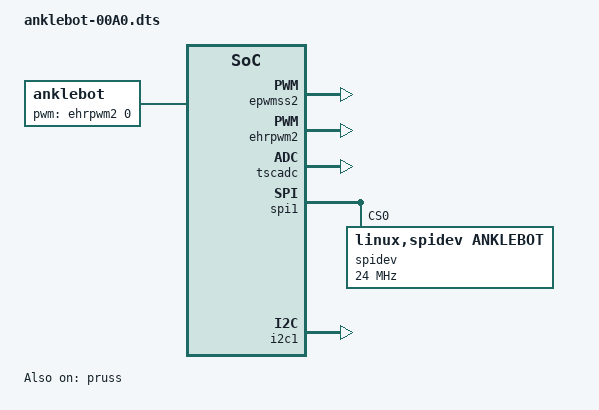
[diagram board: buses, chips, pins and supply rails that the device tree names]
/*
* Copyright (C) 2013 Matt Ranostay <mranostay@gmail.com>
*
* This program is free software; you can redistribute it and/or modify
* it under the terms of the GNU General Public License version 2 as
* published by the Free Software Foundation.
*/

/*
* Modified by Jonathan Realmuto <jonreal731@gmail.com>
*/


/dts-v1/;
/plugin/;

/ {
  compatible = "ti,beaglebone", "ti,beaglebone-black";

  /* identification */
  part-number = "ANKLEBOT";
  version = "00A0";

  /* state the resources this cape uses */
  exclusive-use =

    /**** pru debug pins ****/
    "P9.27",  /* pr1_pru0_pru_r30_5 - debug pin */
    "P8.27",  /* pr1_pru1_pru_r30_8 - debug pin */

    /**** PWM pins ****/
    "P8.45",  /* ehrpwm2A */

    /**** ADC pins ****/
    "P9.39",  /* AIN0 */
    "P9.40",  /* AIN1 */
    "P9.37",  /* AIN2 */
    "P9.38",  /* AIN3 */
    "P9.33",  /* AIN4 */
    "P9.36",  /* AIN5 */
    "P9.35",  /* AIN6 */

    /**** SPI1 pins ****/
    "P9.28",  /* SPI1_CS0 */
    "P9.29",  /* SPI1_D0 */
    "P9.30",  /* SPI1_D1 */
    "P9.31",  /* SPI1_SCLK */

    /**** I2C1 pins ****/
    "P9.17",  /* I2C1_SCL */
    "P9.18",  /* I2C1_SDA */

    /* the hardware IP uses */
    "ehrpwm2A",
    "tscadc",
    "spi1",
    "i2c1",
    "pruss";

  /*----- pin mux -----*/

  /* Bit 0-2 : Mode
   * Bit 3   : 1-pull disabled, 0-pull enabled
   * Bit 4   : 1-pullup, 0-pulldown
   * Bit 5   : 1-input, 0-output
   */

  fragment@0 {
    target = <&am33xx_pinmux>;
    __overlay__ {

      pwm_pins: pinmux_pwm_pins {
        pinctrl-single,pins = <
          0x0A0 0x03  /* P8.45 - ehrpwm2A, MODE3 */
        >;
      };

      pruss_pins: pinmux_pruss_pins {
        pinctrl-single,pins = <
          0x1A4 0x0D  /* P9.27 - pr1_pru0_pru_r30_5, MODE5 | OUTPUT */
          0x0E0 0x0D  /* P8.27 - pr1_pru1_pru_r30_8, MODE5 | OUTPUT */
        >;
      };

      spi_pins: pinmux_spi_pins {
        pinctrl-single,pins = <
          0x19C 0x13  /* P9.28 - spi1_cs0,  MODE3 | OUTPUT_PULLUP */
          0x194 0x33  /* P9.29 - spi1_d0, MODE3 | INPUT_PULLUP */
          0x198 0x13  /* P9.30 - spi1_d1, MODE3 | OUTPUT_PULLUP */
          0x190 0x33  /* P9.31 - spi1_sclk, MODE3 | INPUT_PULLUP */
        >;
      };

      i2c1_pins: pinmux_i2c1_pins{
        pinctrl-single,pins = <
          0x15C 0x72  /* P9.17 - i2c1_scl, MODE2 | INPUT_PULLUP (bi-dir)*/
          0x158 0x72  /* P9.18 - i2c1_sda, MODE2 | INPUT_PULLUP (bi-dir)*/
        >;
      };
    };
  };

  /*----- pru enable -----*/

  fragment@1 {
    target = <&pruss>;
    __overlay__ {
      status = "okay";
      pinctrl-names = "default";
      pinctrl-0 = <&pruss_pins>;
    };
  };

  /*------ PWM enable ------*/

  fragment@2 {
    target = <&epwmss2>;
    __overlay__ {
      status = "okay";
    };
  };

  fragment@3 {
    target = <&ehrpwm2>;
    __overlay__ {
      status = "okay";
      pinctrl-names = "default";
      pinctrl-0 = <&pwm_pins>;
    };
  };

  /*------ PWM settings ------*/

  fragment@4 {
    target = <&ocp>;
    __overlay__ {

      #address-cells = <1>;
      #size-cells = <1>;

      anklebot {
        compatible = "anklebot";
        status = "okay";

        pinctrl-names = "default";
        pinctrl-0 = <&pwm_pins>;

        pwms = <&ehrpwm2 0 500000 0>;
        pwm-names = "anklebot";

        pwm-frequency = <9250>;
        pwm-duty-cycle = <35>;

        default-brightness = <35>;

      };
    };
  };

  /*------ SPI settings -----*/

  fragment@5 {
    target = <&spi1>;
    __overlay__ {

      #address-cells = <1>;
      #size-cells = <0>;
      status = "okay";
      pinctrl-names = "default";
      pinctrl-0 = <&spi_pins>;

      spidev@1 {
        spi-max-frequency = <24000000>;
        reg = <0>;
        compatible = "linux,spidev,anklebot";
      };
    };
  };


  /*----- I2C1 ------*/

  fragment@6 {
    target = <&i2c1>;
    __overlay__ {
      #address-cells = <1>;
      #size-cells = <0>;
      status = "okay";
      pinctrl-names = "default";
      pinctrl-0 = <&i2c1_pins>;
    };
  };

  /*------ ADC settings ------*/

  fragment@7 {
    target = <&ocp>;
    __overlay__ {

      #address-cells = <1>;
      #size-cells = <1>;

      tscadc {
        compatible = "ti,ti-tscadc";
        reg = <0x44e0d000 0x1000>;
        interrupt-parent = <&intc>;
        interrupts = <16>;
        ti,hwmods = "adc_tsc";
        status = "okay";
        linux,phandle = <0x3d>;
        phandle = <0x3d>;

        adc {
          ti,adc-channels = <0 1 2 3 4 5 6 7>;
        };
      };
    };
  };
};
